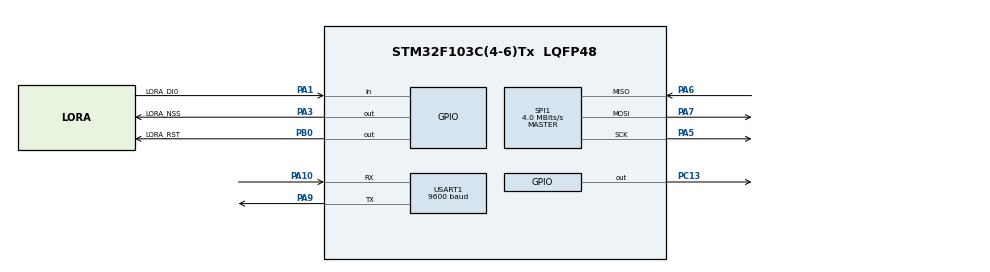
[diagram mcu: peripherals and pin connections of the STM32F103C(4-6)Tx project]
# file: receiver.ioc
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Mcu.Family=STM32F1
Mcu.Name=STM32F103C(4-6)Tx
Mcu.Package=LQFP48
NVIC.PriorityGroup=NVIC_PRIORITYGROUP_4
PA1.GPIO_Label=LORA_DI0
PA1.Signal=GPIO_Input
PA10.Mode=Asynchronous
PA10.Signal=USART1_RX
PA13.Mode=Serial_Wire
PA13.Signal=SYS_JTMS-SWDIO
PA14.Mode=Serial_Wire
PA14.Signal=SYS_JTCK-SWCLK
PA3.GPIO_Label=LORA_NSS
PA3.Signal=GPIO_Output
PA5.Mode=Full_Duplex_Master
PA5.Signal=SPI1_SCK
PA6.Mode=Full_Duplex_Master
PA6.Signal=SPI1_MISO
PA7.Mode=Full_Duplex_Master
PA7.Signal=SPI1_MOSI
PA9.Mode=Asynchronous
PA9.Signal=USART1_TX
PB0.GPIO_Label=LORA_RST
PB0.Signal=GPIO_Output
PC13-TAMPER-RTC.Signal=GPIO_Output
PD0-OSC_IN.Mode=HSE-External-Oscillator
PD0-OSC_IN.Signal=RCC_OSC_IN
PD1-OSC_OUT.Mode=HSE-External-Oscillator
PD1-OSC_OUT.Signal=RCC_OSC_OUT
ProjectManager.HeapSize=0x200
ProjectManager.StackSize=0x400
ProjectManager.TargetToolchain=STM32CubeIDE
RCC.APB1Freq_Value=8000000
RCC.APB2Freq_Value=8000000
SPI1.CalculateBaudRate=4.0 MBits/s
SPI1.Direction=SPI_DIRECTION_2LINES
SPI1.Mode=SPI_MODE_MASTER
SPI1.VirtualType=VM_MASTER
USART1.BaudRate=9600
USART1.VirtualMode=VM_ASYNC
board=custom

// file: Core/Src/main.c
/* USER CODE BEGIN Header */
/**
  ******************************************************************************
  * @file           : main.c
  * @brief          : Main program body
  ******************************************************************************
  * @attention
  *
  * Copyright (c) 2024 STMicroelectronics.
  * All rights reserved.
  *
  * This software is licensed under terms that can be found in the LICENSE file
  * in the root directory of this software component.
  * If no LICENSE file comes with this software, it is provided AS-IS.
  *
  ******************************************************************************
  */
/* USER CODE END Header */
#include "main.h"

/* USER CODE BEGIN Includes */
#include "SX1278.h"
#include "stdio.h"
/* USER CODE END Includes */

/* USER CODE BEGIN PD */
#define PACKET_SIZE 59
/* USER CODE END PD */

SPI_HandleTypeDef hspi1;

UART_HandleTypeDef huart1;

void SystemClock_Config(void);
static void MX_GPIO_Init(void);
static void MX_SPI1_Init(void);
static void MX_USART1_UART_Init(void);
/* USER CODE BEGIN PFP */
uint16_t Crc16(uint8_t *pcBlock, uint16_t len);
/* USER CODE END PFP */

/* USER CODE BEGIN 0 */
SX1278_hw_t SX1278_hw;
SX1278_t SX1278;

int ret = 0;
int message_length = 0;
uint16_t crc_calc = 0;
uint16_t crc_pack = 0;
char str_corrupted_packet[] = "received corrupted packet";

uint8_t transmit_buffer[512];
//uint8_t test_buffer[PACKET_SIZE] = {0xFF, 0xFF, 0x01, 0x00, 0x00, 0x80, 0xA2, 0xBD, 0x00,\
//									0xE0, 0xB7, 0x3E, 0x00, 0xD0, 0x25, 0xBE, 0x00, 0x98,\
//									0xB7, 0xC0, 0x00, 0xE2, 0x81, 0xC0, 0x00, 0xB8, 0x08,\
//									0x3F, 0x48, 0xE1, 0x04, 0x42, 0x5E, 0xA1, 0xC1, 0x47,\
//									0x00, 0xD6, 0x76, 0x42, 0xC4, 0x80, 0x78, 0x44, 0x00,\
//									0x00, 0x00, 0x00, 0x00, 0x00, 0x00, 0x00, 0x00, 0x00,\
//									0x00, 0x00, 0xAF, 0x3B};
/* USER CODE END 0 */

int main(void)
{

  /* MCU Configuration--------------------------------------------------------*/

  /* Reset of all peripherals, Initializes the Flash interface and the Systick. */
  HAL_Init();

  /* USER CODE BEGIN Init */

//  UART test
//  for(int i=0; i<PACKET_SIZE; i++){
//	  transmit_buffer[i] = i;
//  }

  /* USER CODE END Init */

  /* Configure the system clock */
  SystemClock_Config();

  /* Initialize all configured peripherals */
  MX_GPIO_Init();
  MX_SPI1_Init();
  MX_USART1_UART_Init();
  /* USER CODE BEGIN 2 */
  SX1278_hw.dio0.port = LORA_DI0_GPIO_Port;
  SX1278_hw.dio0.pin = LORA_DI0_Pin;
  SX1278_hw.nss.port = LORA_NSS_GPIO_Port;
  SX1278_hw.nss.pin = LORA_NSS_Pin;
  SX1278_hw.reset.port = LORA_RST_GPIO_Port;
  SX1278_hw.reset.pin = LORA_RST_Pin;
  SX1278_hw.spi = &hspi1;

  SX1278.hw = &SX1278_hw;

  SX1278_init(&SX1278, 434000000, SX1278_POWER_11DBM, SX1278_LORA_SF_7, SX1278_LORA_BW_125KHZ, SX1278_LORA_CR_4_5, SX1278_LORA_CRC_EN, PACKET_SIZE);

  HAL_GPIO_WritePin(GPIOC, GPIO_PIN_13, GPIO_PIN_RESET);
  ret = SX1278_LoRaEntryRx(&SX1278, PACKET_SIZE, 2000);
  /* USER CODE END 2 */

  /* Infinite loop */
  /* USER CODE BEGIN WHILE */
  while (1)
  {
//	  UART test
//	  HAL_GPIO_WritePin(GPIOC, GPIO_PIN_13, GPIO_PIN_SET);
//	  HAL_Delay(250);
//
//	  HAL_UART_Transmit_IT(&huart1, transmit_buffer, 58);
//	  ret = HAL_UART_Transmit_IT(&huart1, transmit_buffer, 58);
//	  HAL_GPIO_WritePin(GPIOC, GPIO_PIN_13, GPIO_PIN_RESET);
//	  HAL_Delay(250);
//
	  //ret = SX1278_read(&SX1278, buffer, 15);
	  ret = SX1278_LoRaRxPacket(&SX1278);

	  if(ret > 0){
		  ret = SX1278_read(&SX1278, transmit_buffer, PACKET_SIZE);
		  // crc checking
		  crc_calc = Crc16(transmit_buffer, PACKET_SIZE-2);
		  crc_pack = (transmit_buffer[PACKET_SIZE-2]) + (transmit_buffer[PACKET_SIZE-1] << 8);
		  //
		  HAL_GPIO_WritePin(GPIOC, GPIO_PIN_13, GPIO_PIN_SET);
		  if (crc_pack == crc_calc){
			  // целый пакет
			  HAL_UART_Transmit(&huart1, transmit_buffer, PACKET_SIZE, 2000);
		  }
		  else{
			  // поврежденный пакет
			  HAL_UART_Transmit(&huart1, str_corrupted_packet, sizeof(str_corrupted_packet), 2000);
		  }
	  }
	  ret = 0;
	  HAL_GPIO_WritePin(GPIOC, GPIO_PIN_13, GPIO_PIN_RESET);
	  HAL_Delay(500);

    /* USER CODE END WHILE */

  }
}

void SystemClock_Config(void)
{
  RCC_OscInitTypeDef RCC_OscInitStruct = {0};
  RCC_ClkInitTypeDef RCC_ClkInitStruct = {0};

  /** Initializes the RCC Oscillators according to the specified parameters
  * in the RCC_OscInitTypeDef structure.
  */
  RCC_OscInitStruct.OscillatorType = RCC_OSCILLATORTYPE_HSI;
  RCC_OscInitStruct.HSIState = RCC_HSI_ON;
  RCC_OscInitStruct.HSICalibrationValue = RCC_HSICALIBRATION_DEFAULT;
  RCC_OscInitStruct.PLL.PLLState = RCC_PLL_NONE;
  if (HAL_RCC_OscConfig(&RCC_OscInitStruct) != HAL_OK)
  {
    Error_Handler();
  }

  /** Initializes the CPU, AHB and APB buses clocks
  */
  RCC_ClkInitStruct.ClockType = RCC_CLOCKTYPE_HCLK|RCC_CLOCKTYPE_SYSCLK
                              |RCC_CLOCKTYPE_PCLK1|RCC_CLOCKTYPE_PCLK2;
  RCC_ClkInitStruct.SYSCLKSource = RCC_SYSCLKSOURCE_HSI;
  RCC_ClkInitStruct.AHBCLKDivider = RCC_SYSCLK_DIV1;
  RCC_ClkInitStruct.APB1CLKDivider = RCC_HCLK_DIV1;
  RCC_ClkInitStruct.APB2CLKDivider = RCC_HCLK_DIV1;

  if (HAL_RCC_ClockConfig(&RCC_ClkInitStruct, FLASH_LATENCY_0) != HAL_OK)
  {
    Error_Handler();
  }
}

static void MX_SPI1_Init(void)
{

  /* SPI1 parameter configuration*/
  hspi1.Instance = SPI1;
  hspi1.Init.Mode = SPI_MODE_MASTER;
  hspi1.Init.Direction = SPI_DIRECTION_2LINES;
  hspi1.Init.DataSize = SPI_DATASIZE_8BIT;
  hspi1.Init.CLKPolarity = SPI_POLARITY_LOW;
  hspi1.Init.CLKPhase = SPI_PHASE_1EDGE;
  hspi1.Init.NSS = SPI_NSS_SOFT;
  hspi1.Init.BaudRatePrescaler = SPI_BAUDRATEPRESCALER_2;
  hspi1.Init.FirstBit = SPI_FIRSTBIT_MSB;
  hspi1.Init.TIMode = SPI_TIMODE_DISABLE;
  hspi1.Init.CRCCalculation = SPI_CRCCALCULATION_DISABLE;
  hspi1.Init.CRCPolynomial = 10;
  if (HAL_SPI_Init(&hspi1) != HAL_OK)
  {
    Error_Handler();
  }

}

static void MX_USART1_UART_Init(void)
{

  huart1.Instance = USART1;
  huart1.Init.BaudRate = 9600;
  huart1.Init.WordLength = UART_WORDLENGTH_8B;
  huart1.Init.StopBits = UART_STOPBITS_1;
  huart1.Init.Parity = UART_PARITY_NONE;
  huart1.Init.Mode = UART_MODE_TX_RX;
  huart1.Init.HwFlowCtl = UART_HWCONTROL_NONE;
  huart1.Init.OverSampling = UART_OVERSAMPLING_16;
  if (HAL_UART_Init(&huart1) != HAL_OK)
  {
    Error_Handler();
  }

}

static void MX_GPIO_Init(void)
{
  GPIO_InitTypeDef GPIO_InitStruct = {0};

  /* GPIO Ports Clock Enable */
  __HAL_RCC_GPIOC_CLK_ENABLE();
  __HAL_RCC_GPIOD_CLK_ENABLE();
  __HAL_RCC_GPIOA_CLK_ENABLE();
  __HAL_RCC_GPIOB_CLK_ENABLE();

  /*Configure GPIO pin Output Level */
  HAL_GPIO_WritePin(GPIOC, GPIO_PIN_13, GPIO_PIN_RESET);

  /*Configure GPIO pin Output Level */
  HAL_GPIO_WritePin(LORA_NSS_GPIO_Port, LORA_NSS_Pin, GPIO_PIN_RESET);

  /*Configure GPIO pin Output Level */
  HAL_GPIO_WritePin(LORA_RST_GPIO_Port, LORA_RST_Pin, GPIO_PIN_RESET);

  /*Configure GPIO pin : PC13 */
  GPIO_InitStruct.Pin = GPIO_PIN_13;
  GPIO_InitStruct.Mode = GPIO_MODE_OUTPUT_PP;
  GPIO_InitStruct.Pull = GPIO_NOPULL;
  GPIO_InitStruct.Speed = GPIO_SPEED_FREQ_LOW;
  HAL_GPIO_Init(GPIOC, &GPIO_InitStruct);

  /*Configure GPIO pin : LORA_DI0_Pin */
  GPIO_InitStruct.Pin = LORA_DI0_Pin;
  GPIO_InitStruct.Mode = GPIO_MODE_INPUT;
  GPIO_InitStruct.Pull = GPIO_NOPULL;
  HAL_GPIO_Init(LORA_DI0_GPIO_Port, &GPIO_InitStruct);

  /*Configure GPIO pin : LORA_NSS_Pin */
  GPIO_InitStruct.Pin = LORA_NSS_Pin;
  GPIO_InitStruct.Mode = GPIO_MODE_OUTPUT_PP;
  GPIO_InitStruct.Pull = GPIO_NOPULL;
  GPIO_InitStruct.Speed = GPIO_SPEED_FREQ_LOW;
  HAL_GPIO_Init(LORA_NSS_GPIO_Port, &GPIO_InitStruct);

  /*Configure GPIO pin : LORA_RST_Pin */
  GPIO_InitStruct.Pin = LORA_RST_Pin;
  GPIO_InitStruct.Mode = GPIO_MODE_OUTPUT_PP;
  GPIO_InitStruct.Pull = GPIO_NOPULL;
  GPIO_InitStruct.Speed = GPIO_SPEED_FREQ_LOW;
  HAL_GPIO_Init(LORA_RST_GPIO_Port, &GPIO_InitStruct);

}

/* USER CODE BEGIN 4 */

uint16_t Crc16(uint8_t *pcBlock, uint16_t len) {
 uint16_t crc = 0xFFFF;
    unsigned char i;
    while (len--) {
        crc ^= *pcBlock++ << 8;
        for (i = 0; i < 8; i++) {
            crc = crc & 0x8000 ? (crc << 1) ^ 0x1021 : crc << 1;
        }
    }
    return crc;
}
/* USER CODE END 4 */

void Error_Handler(void)
{
  __disable_irq();
  while (1)
  {
  }
}
